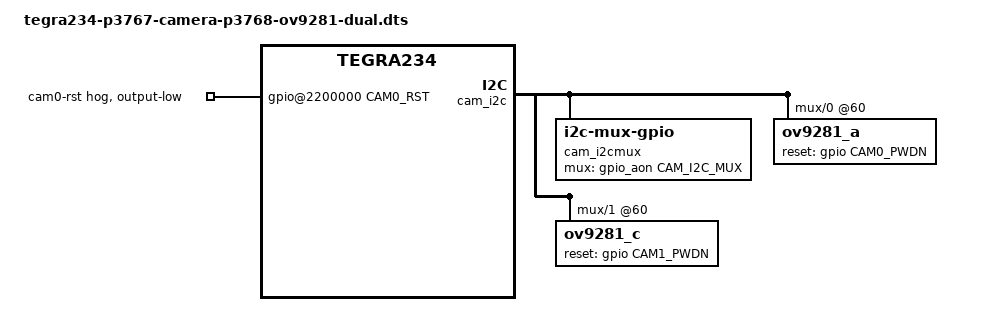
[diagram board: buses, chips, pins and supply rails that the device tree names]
// SPDX-License-Identifier: GPL-2.0-only
/*
 * tegra234-p3767-camera-p3768-ov9281-dual.dts
 *
 * Overlay 2x Waveshare OV9281-120 (cam0/cam1) trên Jetson Orin Nano,
 * board P3768 22-pin CSI connector.
 *
 * NGUỒN THAM CHIẾU: hardware/nvidia/t23x/nv-public/overlay/
 * tegra234-p3767-camera-p3768-imx219-dual.dts (R39.2, IMX219 dual — ĐANG
 * CHẠY ỔN trên chính board này, xác nhận CSI PHY/ISP/toolchain đều đúng).
 *
 * KHÁC BIỆT SO VỚI BẢN GỐC IMX219 (đã cân nhắc, xem thêm ghi chú trong
 * tegra234-camera-ov9281-dual.dtsi):
 *  - #include file .dtsi mới (ov9281, không phải rbpcv2-imx219).
 *  - Đổi tên node instance rbpcv2_imx219_a@10 / _c@10 -> ov9281_a@60 /
 *    ov9281_c@60 (địa chỉ I2C 7-bit mặc định OV9281 = 0x60, khác IMX219
 *    0x10 — xem OV9281_DEFAULT_I2C_ADDRESS_C0 trong nv_ov9281_ported_
 *    partial.c).
 *  - GIỮ NGUYÊN i2c-mux-gpio (cam_i2cmux) + CAM_I2C_MUX pin — dùng lại
 *    ĐÚNG cơ chế IMX219 dùng để tách cam0/cam1 thành 2 bus I2C logic riêng
 *    (route qua GPIO mux, không phải 2 controller I2C vật lý riêng biệt).
 *    ⚠️ LƯU Ý SỬA LẠI CÁCH HIỂU so với OV9281-Jetson-Project-Plan.md: quyết
 *    định trước đó ghi "2 bus I2C vật lý riêng" — sau khi đọc code .dts thật
 *    của IMX219 (baseline đang chạy trên board này), xác nhận cơ chế thật
 *    là i2c-mux-gpio (1 controller vật lý + GPIO mux tạo 2 bus con logic),
 *    KHÔNG phải 2 controller I2C vật lý tách biệt. Về mặt phần mềm/driver,
 *    kết quả tương đương những gì dự án cần (2 struct i2c_client/i2c_adapter
 *    riêng, cùng địa chỉ 0x60 không đụng độ vì mux route riêng từng bus con)
 *    — không cần sửa gì ở tầng driver .c, chỉ cần sửa lại mô tả cho ĐÚNG
 *    trong tài liệu dự án.
 *  - CAM0_PWDN/CAM1_PWDN: DÙNG LẠI đúng 2 chân GPIO IMX219 dùng (TEGRA234_
 *    MAIN_GPIO(H,6) và TEGRA234_MAIN_GPIO(AC,0)) làm reset-gpios (XSHUTDOWN)
 *    cho OV9281 — vì đây là chân điều khiển của CARRIER BOARD (đầu nối
 *    22-pin CSI), không phụ thuộc loại sensor cắm vào cam0/cam1.
 *    ✅ ĐÃ VERIFY THẬT trên board (2026-08-28, không còn là suy luận từ file
 *    nguồn tĩnh nữa): dump device tree ĐANG CHẠY thật qua
 *    `sudo dtc -I fs /proc/device-tree -O dts -o /tmp/current_running.dts`,
 *    đọc property `reset-gpios` thật trên node `rbpcv2_imx219_a@10`/`_c@10`:
 *      cam0: reset-gpios = <0xf4 0x3e 0x00>  -> phandle 0xf4 = main GPIO
 *            controller (gpio@2200000, xác nhận qua "compatible =
 *            nvidia,tegra234-gpio"); pin 0x3e = 62 = 7*8+6 = port H offset 6
 *            = TEGRA234_MAIN_GPIO(H,6)  <-- KHỚP giá trị đã dùng.
 *      cam1: reset-gpios = <0xf4 0xa0 0x00>  -> pin 0xa0 = 160 = 20*8+0 =
 *            port AC offset 0 = TEGRA234_MAIN_GPIO(AC,0)  <-- KHỚP.
 *      (tiện thể verify luôn mux-gpios trên cam_i2cmux đang chạy thật:
 *      <0x106 0x13 0x00> -> phandle 0x106 = AON GPIO controller, pin 19 =
 *      2*8+3 = port CC offset 3 = TEGRA234_AON_GPIO(CC,3) <-- khớp
 *      CAM_I2C_MUX bên dưới).
 *    Kết luận: 2 chân GPIO reset không còn là "mượn tạm/suy luận" — đã xác
 *    nhận bằng chính device tree thật đang chạy trên phần cứng, đúng như
 *    lý luận "chân của carrier board, không phụ thuộc sensor". Mục treo
 *    "GPIO reset (XSHUTDOWN)" trong PROGRESS-SUMMARY.md coi như đã đóng.
 *  - CAM0_RST (hog output-low) GIỮ NGUYÊN không đổi — chân phần cứng cấp
 *    board, không phụ thuộc loại sensor gắn vào.
 */

/dts-v1/;
/plugin/;

#define CAM0_RST	TEGRA234_MAIN_GPIO(H, 3)
#define CAM0_PWDN	TEGRA234_MAIN_GPIO(H, 6)
#define CAM1_PWDN	TEGRA234_MAIN_GPIO(AC, 0)
#define CAM_I2C_MUX	TEGRA234_AON_GPIO(CC, 3)

#include <dt-bindings/tegra234-p3767-0000-common.h>
#include "tegra234-camera-ov9281-dual.dtsi"

/ {
	overlay-name = "Camera OV9281 Dual";
	jetson-header-name = "Jetson 22pin CSI Connector";
	compatible = JETSON_COMPATIBLE_P3768;

	fragment-camera-ov9281@0 {
		target-path = "/";
		__overlay__ {
			bus@0 {
				cam_i2cmux {
					status = "okay";
					compatible = "i2c-mux-gpio";
					#address-cells = <1>;
					#size-cells = <0>;
					i2c-parent = <&cam_i2c>;
					mux-gpios = <&gpio_aon CAM_I2C_MUX GPIO_ACTIVE_HIGH>;
					i2c@0 {
						status = "okay";
						reg = <0>;
						#address-cells = <1>;
						#size-cells = <0>;
						ov9281_a@60 {
							reset-gpios = <&gpio CAM0_PWDN GPIO_ACTIVE_HIGH>;
						};
					};
					i2c@1 {
						status = "okay";
						reg = <1>;
						#address-cells = <1>;
						#size-cells = <0>;
						ov9281_c@60 {
							reset-gpios = <&gpio CAM1_PWDN GPIO_ACTIVE_HIGH>;
						};
					};
				};
				gpio@2200000 {
					camera-control-output-low {
						gpio-hog;
						output-low;
						gpios = <CAM0_RST 0>;
						label = "cam0-rst";
					};
				};
			};
		};
	};
};
